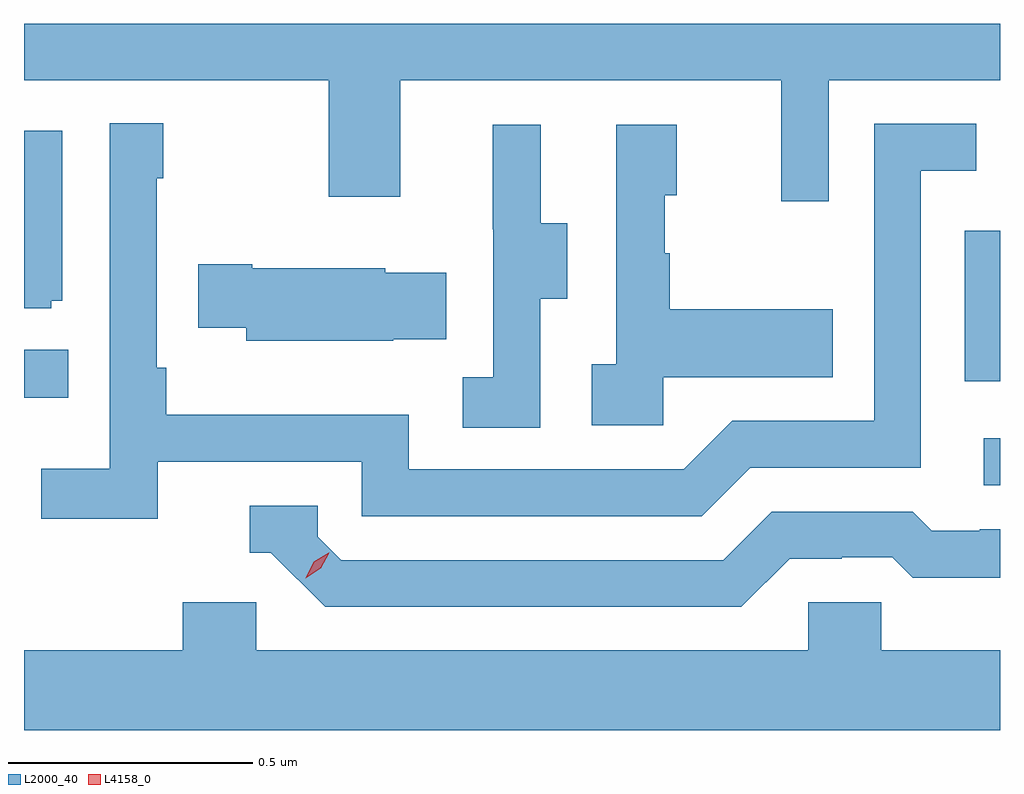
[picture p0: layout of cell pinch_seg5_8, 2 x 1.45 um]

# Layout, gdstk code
import gdstk
lib = gdstk.Library(unit=1e-6, precision=1e-09)
def R(c, l, rs):  # rectangles x0, y0, x1, y1
    for r in rs: c.add(gdstk.rectangle(r[:2], r[2:], *l))
def P(c, l, *ps):  # polygons
    for p in ps: c.add(gdstk.Polygon(p, *l))
L2000_40 = (2000, 40)
L4158_0 = (4158, 0)

pinch_seg5_8 = lib.new_cell('pinch_seg5_8')
R(pinch_seg5_8, L2000_40, [(1118.661,903.882,1118.694,903.978), (1116.694,904.061,1116.785,904.16), (1118.622,904.095,1118.694,904.404)])
P(pinch_seg5_8, L2000_40, [(1118.343,904.712),(1118.694,904.712),(1118.694,904.828),(1116.694,904.828),(1116.694,904.712),(1117.318,904.712),(1117.318,904.473),(1117.465,904.473),(1117.465,904.712),(1118.246,904.712),(1118.246,904.464),(1118.343,904.464)],
  [(1116.968,903.93),(1117.386,903.93),(1117.386,903.819),(1118.083,903.819),(1118.182,903.918),(1118.532,903.918),(1118.532,904.527),(1118.645,904.527),(1118.645,904.623),(1118.436,904.623),(1118.436,904.014),(1118.145,904.014),(1118.046,903.915),(1117.482,903.915),(1117.482,904.027),(1116.986,904.027),(1116.986,904.123),(1116.966,904.123),(1116.966,904.511),(1116.979,904.511),(1116.979,904.624),(1116.87,904.624),(1116.87,903.916),(1116.729,903.916),(1116.729,903.814),(1116.968,903.814)],
  [(1118.004,904.103),(1118.351,904.103),(1118.351,904.243),(1118.017,904.243),(1118.017,904.358),(1118.007,904.358),(1118.007,904.476),(1118.032,904.476),(1118.032,904.621),(1117.908,904.621),(1117.908,904.13),(1117.857,904.13),(1117.857,904.005),(1118.004,904.005)],
  [(1117.752,904.264),(1117.807,904.264),(1117.807,904.419),(1117.753,904.419),(1117.753,904.621),(1117.655,904.621),(1117.655,904.407),(1117.656,904.407),(1117.656,904.103),(1117.593,904.103),(1117.593,904),(1117.752,904)],
  [(1116.75,904.26),(1116.772,904.26),(1116.772,904.609),(1116.694,904.609),(1116.694,904.245),(1116.75,904.245)],
  [(1117.451,904.181),(1117.559,904.181),(1117.559,904.318),(1117.434,904.318),(1117.434,904.327),(1117.162,904.327),(1117.162,904.335),(1117.051,904.335),(1117.051,904.205),(1117.149,904.205),(1117.149,904.178),(1117.451,904.178)],
  [(1118.263,903.732),(1118.37,903.732),(1118.37,903.735),(1118.473,903.735),(1118.515,903.693),(1118.694,903.693),(1118.694,903.792),(1118.653,903.792),(1118.653,903.789),(1118.554,903.789),(1118.515,903.828),(1118.226,903.828),(1118.127,903.729),(1117.344,903.729),(1117.296,903.777),(1117.296,903.84),(1117.157,903.84),(1117.157,903.744),(1117.2,903.744),(1117.311,903.633),(1118.164,903.633)],
  [(1118.694,903.544),(1118.451,903.544),(1118.451,903.642),(1118.301,903.642),(1118.301,903.544),(1117.17,903.544),(1117.17,903.642),(1117.019,903.642),(1117.019,903.544),(1116.694,903.544),(1116.694,903.38),(1118.694,903.38)])
P(pinch_seg5_8, L4158_0, [(1117.271,903.692),(1117.271,903.693),(1117.288,903.725),(1117.318,903.744),(1117.319,903.744),(1117.319,903.744),(1117.302,903.712),(1117.271,903.692)])

lib.write_gds('pinch_seg5_8.gds')
